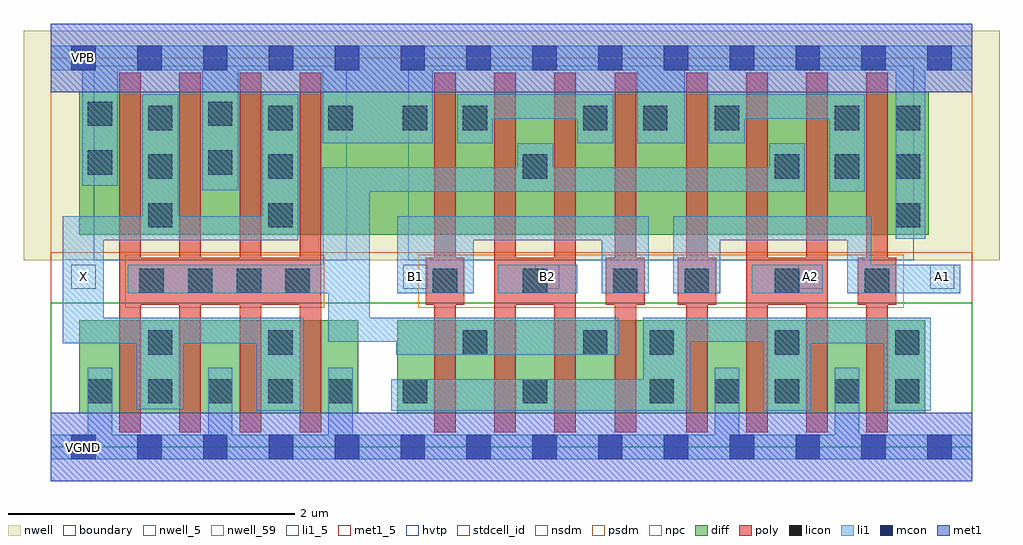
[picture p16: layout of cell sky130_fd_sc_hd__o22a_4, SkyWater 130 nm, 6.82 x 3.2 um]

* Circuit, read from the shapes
.subckt sky130_fd_sc_hd__o22a_4 A1 A2 B1 B2 VGND VNB VPB VPWR X
XM1 X n1 VGND VNB sky130_fd_pr__nfet_01v8 w=0.65 l=0.15 m=4
XM2 n1 B1 n2 VNB sky130_fd_pr__nfet_01v8 w=0.65 l=0.15 m=2
XM3 n2 B2 n1 VNB sky130_fd_pr__nfet_01v8 w=0.65 l=0.15 m=2
XM4 VGND A1 n2 VNB sky130_fd_pr__nfet_01v8 w=0.65 l=0.15 m=2
XM5 n2 A2 VGND VNB sky130_fd_pr__nfet_01v8 w=0.65 l=0.15 m=2
XM6 X n1 VPWR VPB sky130_fd_pr__pfet_01v8_hvt w=1 l=0.15 m=4
XM7 n3 B1 VPWR VPB sky130_fd_pr__pfet_01v8_hvt w=1 l=0.15 m=2
XM8 n1 B2 n3 VPB sky130_fd_pr__pfet_01v8_hvt w=1 l=0.15 m=2
XM9 n4 A1 VPWR VPB sky130_fd_pr__pfet_01v8_hvt w=1 l=0.15 m=2
XM10 n1 A2 n4 VPB sky130_fd_pr__pfet_01v8_hvt w=1 l=0.15 m=2
.ends

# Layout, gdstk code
import gdstk
lib = gdstk.Library(unit=1e-6, precision=1e-09)
def R(c, l, rs):  # rectangles x0, y0, x1, y1
    for r in rs: c.add(gdstk.rectangle(r[:2], r[2:], *l))
def A(c, l, x, y, w, h, nx, ny, dx, dy):  # array of equal rectangles
    R(c, l, [(x+i*dx, y+j*dy, x+i*dx+w, y+j*dy+h) for i in range(nx) for j in range(ny)])
nwell_5 = (64, 5)
nwell = (64, 20)
nwell_59 = (64, 59)
diff = (65, 20)
poly = (66, 20)
licon = (66, 44)
li1_5 = (67, 5)
li1 = (67, 20)
mcon = (67, 44)
met1_5 = (68, 5)
met1 = (68, 20)
hvtp = (78, 44)
stdcell_id = (81, 4)
nsdm = (93, 44)
psdm = (94, 20)
npc = (95, 20)
boundary = (235, 4)

sky130_fd_sc_hd__o22a_4 = lib.new_cell('sky130_fd_sc_hd__o22a_4')
R(sky130_fd_sc_hd__o22a_4, nwell_5, [(0.145,2.635,0.315,2.805)])
R(sky130_fd_sc_hd__o22a_4, nwell, [(-0.19,1.305,6.63,2.91)])
R(sky130_fd_sc_hd__o22a_4, nwell_59, [(0.145,-0.085,0.315,0.085)])
R(sky130_fd_sc_hd__o22a_4, diff, [(0.2,0.235,2.15,0.885), (2.42,0.235,6.11,0.885), (0.2,1.485,6.135,2.485)])
A(sky130_fd_sc_hd__o22a_4, poly, 0.48, 0.105, 0.15, 0.89, 4, 1, 0.42, 0)
A(sky130_fd_sc_hd__o22a_4, poly, 2.68, 0.105, 0.15, 0.89, 4, 1, 0.42, 0)
A(sky130_fd_sc_hd__o22a_4, poly, 4.44, 0.105, 0.15, 0.89, 4, 1, 0.42, 0)
A(sky130_fd_sc_hd__o22a_4, poly, 0.48, 1.325, 0.15, 1.29, 4, 1, 0.42, 0)
A(sky130_fd_sc_hd__o22a_4, poly, 2.68, 1.325, 0.15, 1.29, 4, 1, 0.42, 0)
A(sky130_fd_sc_hd__o22a_4, poly, 4.44, 1.325, 0.15, 1.29, 4, 1, 0.42, 0)
R(sky130_fd_sc_hd__o22a_4, poly, [(0.48,0.995,1.89,1.325), (2.62,0.995,2.89,1.325), (3.1,0.995,3.67,1.325), (3.88,0.995,4.15,1.325), (4.38,0.995,4.65,1.325), (4.86,0.995,5.43,1.325), (5.64,0.995,5.91,1.325)])
A(sky130_fd_sc_hd__o22a_4, licon, 0.26, 0.305, 0.17, 0.17, 5, 1, 0.42, 0)
A(sky130_fd_sc_hd__o22a_4, licon, 4.64, 0.305, 0.17, 0.17, 4, 1, 0.42, 0)
A(sky130_fd_sc_hd__o22a_4, licon, 0.62, 1.075, 0.17, 0.17, 4, 1, 0.34, 0)
A(sky130_fd_sc_hd__o22a_4, licon, 2.67, 1.075, 0.17, 0.17, 3, 1, 0.63, 0)
A(sky130_fd_sc_hd__o22a_4, licon, 4.43, 1.075, 0.17, 0.17, 3, 1, 0.63, 0)
A(sky130_fd_sc_hd__o22a_4, licon, 0.68, 1.535, 0.17, 0.17, 1, 3, 0, 0.34)
A(sky130_fd_sc_hd__o22a_4, licon, 1.52, 1.535, 0.17, 0.17, 1, 3, 0, 0.34)
A(sky130_fd_sc_hd__o22a_4, licon, 5.905, 1.535, 0.17, 0.17, 1, 3, 0, 0.34)
R(sky130_fd_sc_hd__o22a_4, licon, [(2.46,0.305,2.63,0.475), (3.3,0.305,3.47,0.475), (4.185,0.305,4.355,0.475), (0.68,0.645,0.85,0.815), (1.52,0.645,1.69,0.815), (2.88,0.645,3.05,0.815), (3.72,0.645,3.89,0.815), (4.185,0.645,4.355,0.815), (5.06,0.645,5.23,0.815), (5.9,0.645,6.07,0.815), (3.3,1.875,3.47,2.045), (5.06,1.875,5.23,2.045), (5.48,1.875,5.65,2.045), (0.26,1.905,0.43,2.075), (1.1,1.905,1.27,2.075), (1.94,2.215,2.11,2.385), (2.46,2.215,2.63,2.385), (2.88,2.215,3.05,2.385), (3.72,2.215,3.89,2.385), (4.14,2.215,4.31,2.385), (4.64,2.215,4.81,2.385), (5.48,2.215,5.65,2.385), (0.26,2.245,0.43,2.415), (1.1,2.245,1.27,2.415)])
R(sky130_fd_sc_hd__o22a_4, li1_5, [(0.145,1.105,0.315,1.275), (2.465,1.105,2.635,1.275), (3.385,1.105,3.555,1.275), (5.225,1.105,5.395,1.275), (6.145,1.105,6.315,1.275)])
A(sky130_fd_sc_hd__o22a_4, li1, 0.26, 0.085, 0.17, 0.47, 3, 1, 0.84, 0)
R(sky130_fd_sc_hd__o22a_4, li1, [(0,-0.085,6.44,0.085), (4.64,0.085,4.81,0.555), (5.48,0.085,5.65,0.555), (1.44,0.255,1.77,0.725), (2.38,0.255,4.47,0.475), (4.98,0.255,5.31,0.725), (5.82,0.255,6.15,0.725), (0.6,0.265,0.93,0.725), (4.14,0.475,4.47,0.735), (2.415,0.645,3.97,0.735), (0.085,0.725,1.77,0.905), (4.98,0.725,6.15,0.735), (1.94,0.735,3.97,0.905), (4.14,0.735,6.15,0.905), (0.085,0.905,0.37,1.445), (1.94,0.905,2.23,1.075), (0.54,1.075,2.23,1.275), (2.42,1.075,2.955,1.445), (3.125,1.075,3.68,1.275), (3.85,1.075,4.18,1.445), (4.35,1.075,4.68,1.445), (4.9,1.075,5.395,1.275), (5.565,1.075,6.355,1.275), (1.9,1.275,2.23,1.785), (5.565,1.275,5.735,1.445), (0.085,1.445,1.73,1.615), (2.42,1.445,4.18,1.615), (4.35,1.445,5.735,1.615), (5.905,1.455,6.11,2.635), (0.64,1.615,0.89,2.465), (1.48,1.615,1.73,2.465), (1.9,1.785,5.27,1.955), (5.44,1.785,5.69,2.295), (1.06,1.795,1.31,2.635), (0.22,1.825,0.47,2.635), (3.26,1.955,3.51,2.125), (5.02,1.955,5.27,2.125), (1.9,2.125,2.67,2.635), (2.84,2.125,3.09,2.295), (3.68,2.125,3.93,2.295), (4.1,2.125,4.43,2.635), (4.6,2.125,4.85,2.295), (2.84,2.295,3.93,2.465), (4.6,2.295,5.69,2.465), (0,2.635,6.44,2.805)])
A(sky130_fd_sc_hd__o22a_4, mcon, 0.145, -0.085, 0.17, 0.17, 14, 2, 0.46, 2.72)
R(sky130_fd_sc_hd__o22a_4, met1_5, [(0.145,-0.085,0.315,0.085), (0.145,2.635,0.315,2.805)])
R(sky130_fd_sc_hd__o22a_4, met1, [(0,-0.24,6.44,0.24), (0,2.48,6.44,2.96)])
R(sky130_fd_sc_hd__o22a_4, hvtp, [(0.3,1.305,2.07,2.665), (2.5,1.305,6.03,2.665)])
R(sky130_fd_sc_hd__o22a_4, stdcell_id, [(0,0,6.44,2.72)])
R(sky130_fd_sc_hd__o22a_4, nsdm, [(0,0,6.44,1.01)])
R(sky130_fd_sc_hd__o22a_4, psdm, [(0,1.36,6.44,2.72)])
R(sky130_fd_sc_hd__o22a_4, npc, [(0.52,0.975,1.91,1.345), (2.57,0.975,5.96,1.345)])
R(sky130_fd_sc_hd__o22a_4, boundary, [(0,0,6.44,2.72)])
sky130_fd_sc_hd__o22a_4.add(gdstk.Label('A1', (6.23,1.19), layer=67, texttype=5))
sky130_fd_sc_hd__o22a_4.add(gdstk.Label('A2', (5.31,1.19), layer=67, texttype=5))
sky130_fd_sc_hd__o22a_4.add(gdstk.Label('B1', (2.55,1.19), layer=67, texttype=5))
sky130_fd_sc_hd__o22a_4.add(gdstk.Label('B2', (3.47,1.19), layer=67, texttype=5))
sky130_fd_sc_hd__o22a_4.add(gdstk.Label('VGND', (0.23,0), layer=68, texttype=5))
sky130_fd_sc_hd__o22a_4.add(gdstk.Label('VNB', (0.23,0), layer=64, texttype=59))
sky130_fd_sc_hd__o22a_4.add(gdstk.Label('VPB', (0.23,2.72), layer=64, texttype=5))
sky130_fd_sc_hd__o22a_4.add(gdstk.Label('VPWR', (0.23,2.72), layer=68, texttype=5))
sky130_fd_sc_hd__o22a_4.add(gdstk.Label('X', (0.23,1.19), layer=67, texttype=5))

lib.write_gds('sky130_fd_sc_hd__o22a_4.gds')
